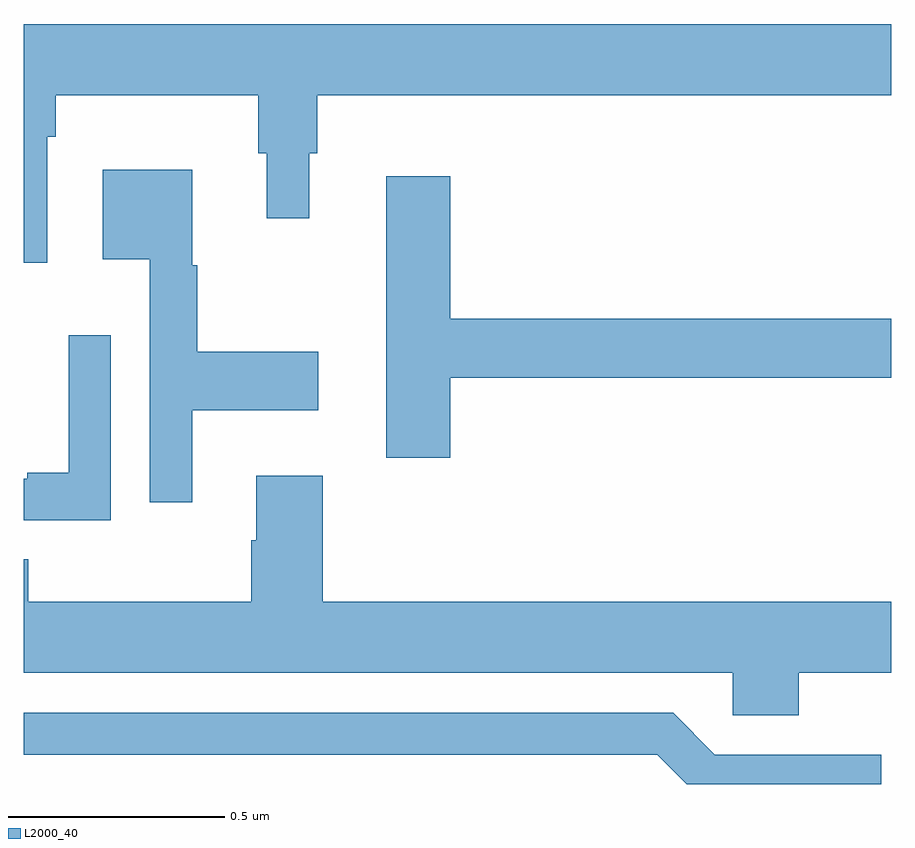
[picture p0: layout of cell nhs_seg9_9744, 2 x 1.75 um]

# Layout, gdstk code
import gdstk
lib = gdstk.Library(unit=1e-6, precision=1e-09)
def P(c, l, *ps):  # polygons
    for p in ps: c.add(gdstk.Polygon(p, *l))
L2000_40 = (2000, 40)

nhs_seg9_9744 = lib.new_cell('nhs_seg9_9744')
P(nhs_seg9_9744, L2000_40, [(234,1194.702),(234.054,1194.702),(234.054,1194.992),(234.074,1194.992),(234.074,1195.088),(234.541,1195.088),(234.541,1194.954),(234.56,1194.954),(234.56,1194.804),(234.658,1194.804),(234.658,1194.954),(234.677,1194.954),(234.677,1195.088),(236,1195.088),(236,1195.252),(234,1195.252)],
  [(234.388,1194.362),(234.679,1194.362),(234.679,1194.497),(234.4,1194.497),(234.4,1194.696),(234.388,1194.696),(234.388,1194.916),(234.182,1194.916),(234.182,1194.71),(234.291,1194.71),(234.291,1194.15),(234.388,1194.15)],
  [(234.983,1194.436),(236,1194.436),(236,1194.572),(234.983,1194.572),(234.983,1194.901),(234.836,1194.901),(234.836,1194.252),(234.983,1194.252)],
  [(234.201,1194.535),(234.104,1194.535),(234.104,1194.217),(234.008,1194.217),(234.008,1194.204),(234,1194.204),(234,1194.108),(234.201,1194.108)],
  [(235.635,1193.658),(235.787,1193.658),(235.787,1193.756),(236,1193.756),(236,1193.92),(234.689,1193.92),(234.689,1194.211),(234.536,1194.211),(234.536,1194.062),(234.524,1194.062),(234.524,1193.92),(234.011,1193.92),(234.011,1194.018),(234,1194.018),(234,1193.756),(235.635,1193.756)],
  [(235.977,1193.568),(235.593,1193.568),(235.497,1193.664),(234,1193.664),(234,1193.568),(235.461,1193.568),(235.529,1193.5),(235.977,1193.5)])

lib.write_gds('nhs_seg9_9744.gds')
